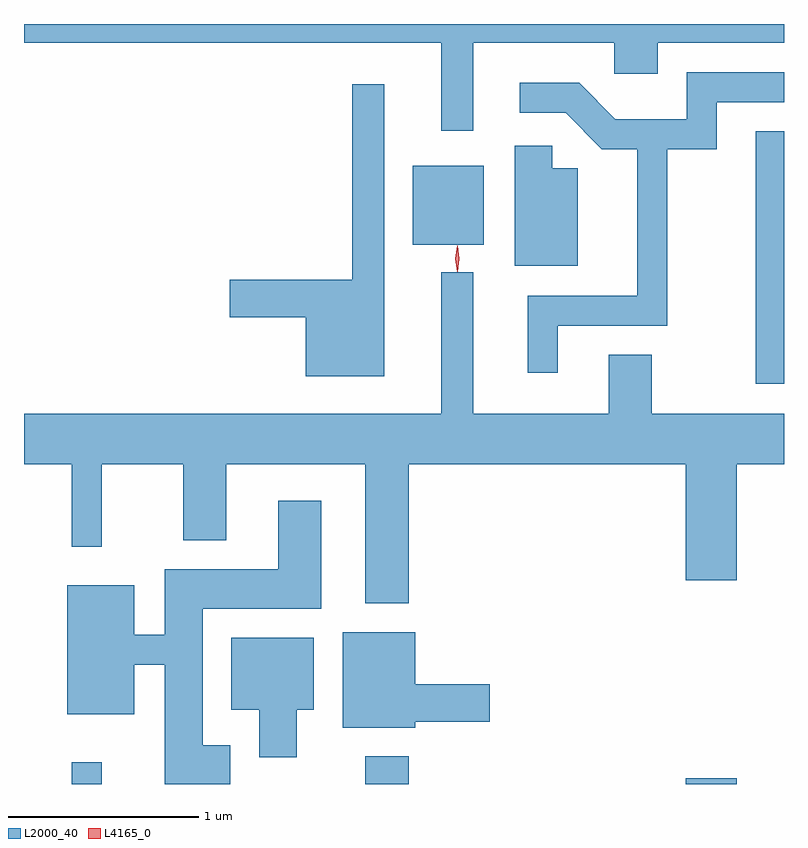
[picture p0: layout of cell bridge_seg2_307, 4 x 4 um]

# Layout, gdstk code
import gdstk
lib = gdstk.Library(unit=1e-6, precision=1e-09)
def R(c, l, rs):  # rectangles x0, y0, x1, y1
    for r in rs: c.add(gdstk.rectangle(r[:2], r[2:], *l))
def P(c, l, *ps):  # polygons
    for p in ps: c.add(gdstk.Polygon(p, *l))
L2000_40 = (2000, 40)
L4165_0 = (4165, 0)

bridge_seg2_307 = lib.new_cell('bridge_seg2_307')
R(bridge_seg2_307, L2000_40, [(451.606,1068.834,451.764,1068.948), (453.151,1068.834,453.379,1068.979), (454.836,1068.834,455.104,1068.864), (455.206,1070.941,455.354,1072.269), (453.401,1071.671,453.774,1072.089)])
P(bridge_seg2_307, L2000_40, [(453.719,1072.736),(454.461,1072.736),(454.461,1072.571),(454.689,1072.571),(454.689,1072.736),(455.354,1072.736),(455.354,1072.834),(451.354,1072.834),(451.354,1072.736),(453.551,1072.736),(453.551,1072.273),(453.719,1072.273)],
  [(454.164,1071.246),(454.739,1071.246),(454.739,1072.176),(454.999,1072.176),(454.999,1072.421),(455.354,1072.421),(455.354,1072.579),(454.841,1072.579),(454.841,1072.334),(454.467,1072.334),(454.277,1072.524),(453.963,1072.524),(453.963,1072.366),(454.204,1072.366),(454.394,1072.176),(454.581,1072.176),(454.581,1071.404),(454.006,1071.404),(454.006,1070.998),(454.164,1070.998)],
  [(453.249,1072.518),(453.081,1072.518),(453.081,1071.489),(452.436,1071.489),(452.436,1071.291),(452.836,1071.291),(452.836,1070.981),(453.249,1070.981)],
  [(454.269,1072.074),(454.134,1072.074),(454.134,1072.194),(453.936,1072.194),(453.936,1071.561),(454.269,1071.561)],
  [(453.379,1070.516),(454.836,1070.516),(454.836,1069.906),(455.104,1069.906),(455.104,1070.516),(455.354,1070.516),(455.354,1070.784),(454.659,1070.784),(454.659,1071.094),(454.431,1071.094),(454.431,1070.784),(453.719,1070.784),(453.719,1071.528),(453.551,1071.528),(453.551,1070.784),(451.354,1070.784),(451.354,1070.516),(451.606,1070.516),(451.606,1070.083),(451.764,1070.083),(451.764,1070.516),(452.191,1070.516),(452.191,1070.116),(452.419,1070.116),(452.419,1070.516),(453.151,1070.516),(453.151,1069.786),(453.379,1069.786)],
  [(452.439,1069.039),(452.294,1069.039),(452.294,1069.756),(452.919,1069.756),(452.919,1070.324),(452.691,1070.324),(452.691,1069.964),(452.096,1069.964),(452.096,1069.619),(451.934,1069.619),(451.934,1069.879),(451.581,1069.879),(451.581,1069.201),(451.934,1069.201),(451.934,1069.461),(452.096,1069.461),(452.096,1068.834),(452.439,1068.834)],
  [(453.414,1069.161),(453.804,1069.161),(453.804,1069.359),(453.414,1069.359),(453.414,1069.634),(453.031,1069.634),(453.031,1069.131),(453.414,1069.131)],
  [(452.789,1069.226),(452.879,1069.226),(452.879,1069.604),(452.446,1069.604),(452.446,1069.226),(452.591,1069.226),(452.591,1068.976),(452.789,1068.976)])
P(bridge_seg2_307, L4165_0, [(453.635,1071.53),(453.625,1071.598),(453.635,1071.666),(453.636,1071.666),(453.636,1071.666),(453.646,1071.598),(453.636,1071.53),(453.636,1071.53)],
  [(453.636,1071.533),(453.636,1071.533),(453.626,1071.597),(453.636,1071.661),(453.636,1071.662),(453.636,1071.661),(453.646,1071.598),(453.637,1071.533)])

lib.write_gds('bridge_seg2_307.gds')
